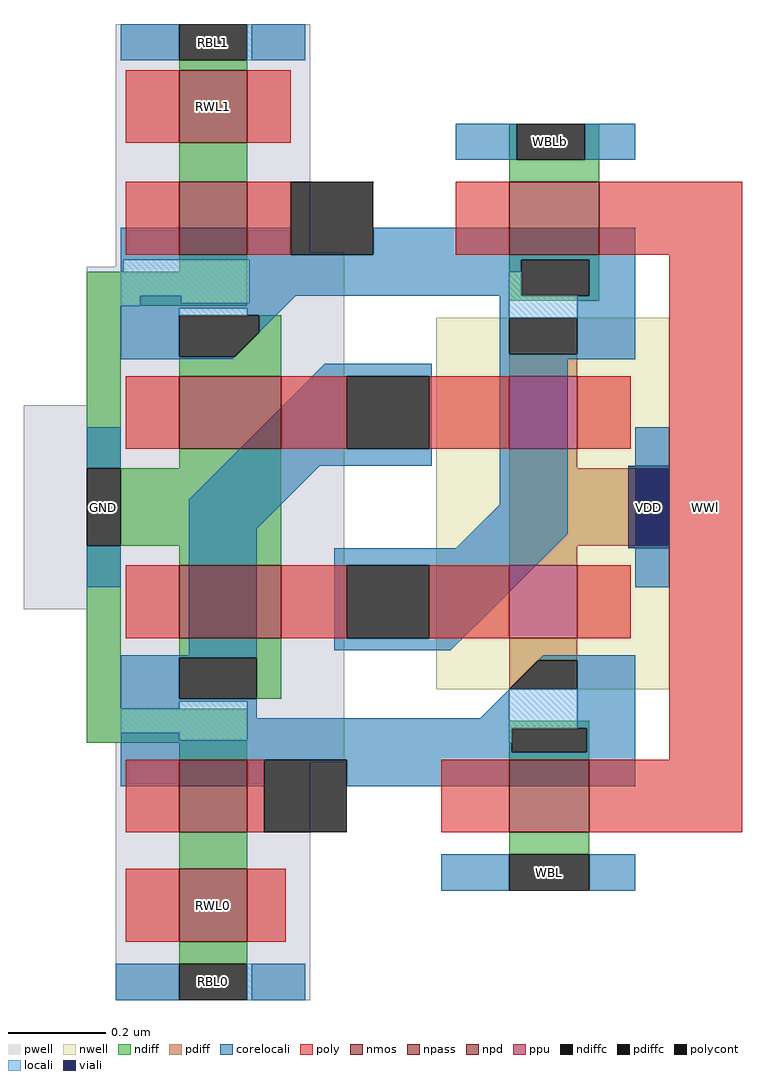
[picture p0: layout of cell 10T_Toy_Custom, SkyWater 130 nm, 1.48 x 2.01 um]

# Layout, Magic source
magic
tech sky130A
magscale 1 2
<< nwell >>
rect 144 83 240 236
<< pwell >>
rect 12 263 92 357
rect 177 301 205 316
rect 12 257 106 263
rect 0 200 106 257
rect 179 245 207 260
rect -26 116 106 200
rect 0 61 106 116
rect 12 53 106 61
rect 175 57 206 67
rect 12 -45 92 53
rect 174 0 207 15
<< nmos >>
rect 38 308 66 338
rect 174 262 211 292
rect 174 24 207 54
rect 38 -21 66 9
<< npd >>
rect 38 182 80 212
rect 38 104 80 134
<< npass >>
rect 38 262 66 292
rect 38 24 66 54
<< ppu >>
rect 174 182 202 212
rect 174 104 202 134
<< ndiff >>
rect 38 338 66 342
rect 38 292 66 308
rect 174 301 177 316
rect 205 301 211 316
rect 174 292 211 301
rect 38 255 66 262
rect 0 241 66 255
rect 174 260 211 262
rect 174 245 179 260
rect 207 245 211 260
rect 174 243 211 245
rect 0 174 14 241
tri 61 220 71 230 se
rect 71 220 80 237
rect 38 212 80 220
rect 38 174 80 182
rect 14 142 80 174
rect 0 75 14 142
rect 38 134 80 142
rect 38 96 80 104
rect 70 79 80 96
rect 0 61 66 75
rect 38 54 66 61
rect 174 67 207 70
rect 174 57 175 67
rect 206 57 207 67
rect 174 54 207 57
rect 38 9 66 24
rect 174 15 207 24
rect 38 -30 66 -21
<< pdiff >>
rect 174 212 202 221
rect 174 174 202 182
rect 174 142 226 174
rect 174 134 202 142
rect 174 95 202 104
tri 174 83 186 95 nw
<< ndiffc >>
rect 38 342 66 357
rect 177 301 205 316
rect 179 245 207 260
rect 38 230 71 237
rect 38 220 61 230
tri 61 220 71 230 nw
rect 0 142 14 174
rect 38 79 70 96
rect 175 57 206 67
rect 174 0 207 15
rect 38 -45 66 -30
<< pdiffc >>
rect 174 221 202 236
rect 226 142 240 174
tri 174 83 186 95 se
rect 186 83 202 95
<< poly >>
rect 16 308 38 338
rect 66 308 84 338
rect 16 262 38 292
rect 66 262 84 292
rect 152 262 174 292
rect 211 262 270 292
rect 16 182 38 212
rect 80 182 107 212
rect 141 182 174 212
rect 202 182 224 212
rect 16 104 38 134
rect 80 104 107 134
rect 141 104 174 134
rect 202 104 224 134
rect 240 54 270 262
rect 16 24 38 54
rect 66 24 73 54
rect 146 24 174 54
rect 207 24 270 54
rect 16 -21 38 9
rect 66 -21 82 9
<< polycont >>
rect 84 262 118 292
rect 107 182 141 212
rect 107 104 141 134
rect 73 24 107 54
<< locali >>
rect 66 342 68 357
rect 15 255 67 260
rect 14 245 67 255
rect 174 245 179 255
rect 14 241 22 245
rect 39 242 67 245
rect 38 237 66 240
rect 174 236 202 245
rect 38 75 66 78
rect 14 65 66 75
rect 38 62 66 65
rect 174 67 202 83
rect 174 61 175 67
rect 66 -45 68 -30
<< corelocali >>
rect 14 342 38 357
rect 68 342 90 357
rect 152 301 177 316
rect 205 301 226 316
rect 14 262 84 273
rect 118 262 226 273
rect 14 260 226 262
rect 14 255 15 260
rect 67 255 179 260
rect 67 245 174 255
rect 207 245 226 260
rect 22 242 39 245
rect 67 242 71 245
rect 22 241 71 242
rect 14 240 71 241
rect 14 220 38 240
rect 66 237 71 240
tri 71 230 86 245 nw
rect 170 221 174 245
rect 202 221 226 245
rect 14 219 60 220
tri 60 219 61 220 nw
rect 170 219 226 221
rect 0 174 14 191
tri 63 182 98 217 se
rect 98 212 142 217
rect 98 182 107 212
rect 141 182 142 212
rect 0 125 14 142
tri 42 161 63 182 se
rect 63 175 142 182
rect 63 161 70 175
rect 42 97 70 161
tri 70 149 96 175 nw
tri 160 149 170 159 se
rect 170 149 198 219
rect 226 175 240 191
tri 152 141 160 149 se
rect 160 147 198 149
rect 160 141 170 147
rect 102 134 170 141
rect 102 104 107 134
rect 141 119 170 134
tri 170 119 198 147 nw
rect 226 125 240 141
rect 141 104 150 119
rect 102 99 150 104
tri 150 99 170 119 nw
rect 14 96 70 97
rect 14 79 38 96
tri 186 95 188 97 se
rect 188 95 226 97
rect 14 78 70 79
rect 14 75 38 78
rect 66 71 70 78
tri 162 71 174 83 se
rect 14 62 38 65
rect 66 62 174 71
rect 202 67 226 95
rect 14 61 174 62
rect 14 57 175 61
rect 206 57 226 67
rect 14 54 226 57
rect 14 43 73 54
rect 107 43 226 54
rect 146 0 174 15
rect 207 0 226 15
rect 12 -45 38 -30
rect 68 -45 90 -30
<< viali >>
rect 223 174 240 175
rect 223 142 226 174
rect 226 142 240 174
rect 223 141 240 142
<< labels >>
rlabel poly 240 24 270 292 1 WWl
rlabel locali 38 -45 66 -30 1 RBL0
rlabel poly 38 -21 66 9 1 RWL0
rlabel locali 38 342 66 357 1 RBL1
rlabel poly 38 308 66 338 1 RWL1
rlabel locali 0 142 14 174 1 GND
rlabel locali 223 141 240 175 1 VDD
rlabel locali 177 301 205 316 1 WBLb
rlabel locali 174 0 207 15 1 WBL
<< end >>
